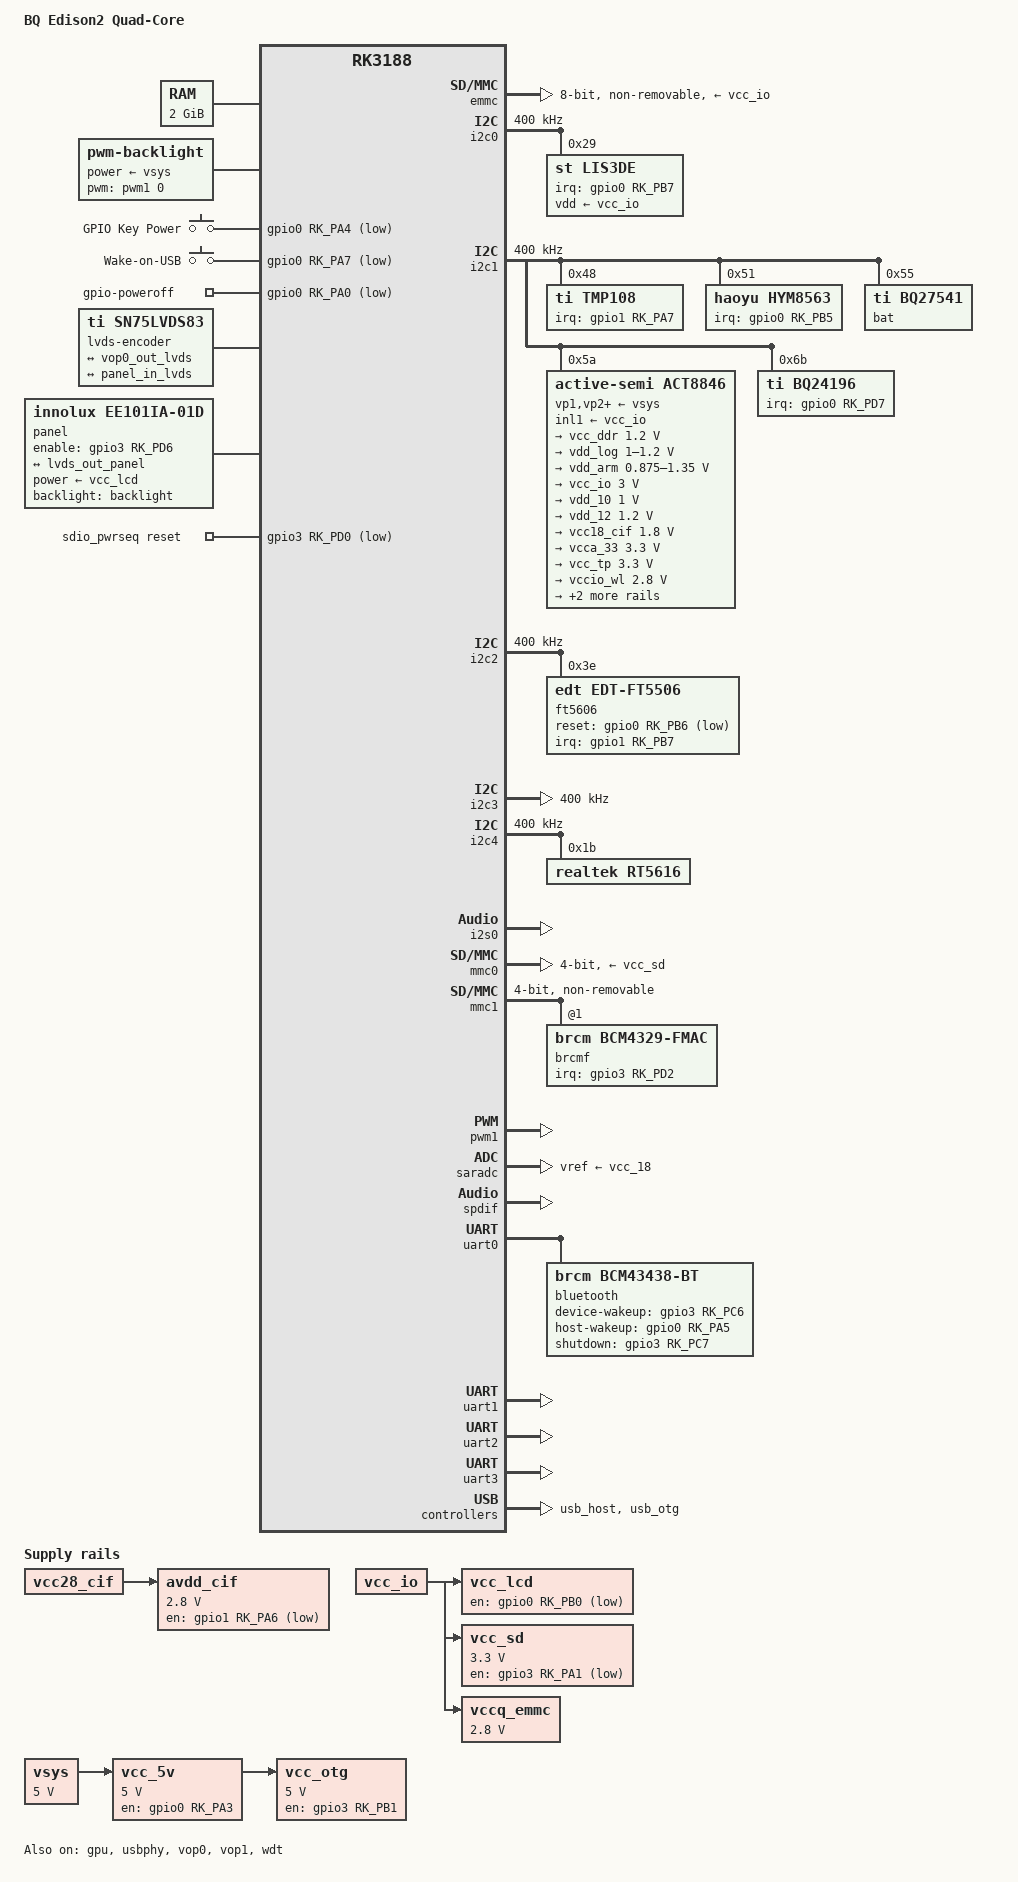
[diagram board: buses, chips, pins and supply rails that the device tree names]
// SPDX-License-Identifier: (GPL-2.0+ OR MIT)
/*
 * Copyright (c) 2018 MundoReader S.L.
 * Author:  Heiko Stuebner <heiko.stuebner@bq.com>
 */

/dts-v1/;
#include <dt-bindings/i2c/i2c.h>
#include <dt-bindings/input/input.h>
#include <dt-bindings/interrupt-controller/irq.h>
#include "rk3188.dtsi"

/ {
	model = "BQ Edison2 Quad-Core";
	compatible = "mundoreader,bq-edison2qc", "rockchip,rk3188";

	aliases {
		mmc0 = &mmc0;
		mmc1 = &mmc1;
		mmc2 = &emmc;
	};

	memory@60000000 {
		device_type = "memory";
		reg = <0x60000000 0x80000000>;
	};

	backlight: backlight {
		compatible = "pwm-backlight";
		power-supply = <&vsys>;
		pwms = <&pwm1 0 25000>;
	};

	gpio-keys {
		compatible = "gpio-keys";
		autorepeat;
		pinctrl-names = "default";
		pinctrl-0 = <&pwr_key &usb_int>;

		key-power {
			gpios = <&gpio0 RK_PA4 GPIO_ACTIVE_LOW>;
			linux,code = <KEY_POWER>;
			label = "GPIO Key Power";
			linux,input-type = <1>;
			debounce-interval = <100>;
			wakeup-source;
		};

		wake_on_usb: key-wake-on-usb {
			label = "Wake-on-USB";
			gpios = <&gpio0 RK_PA7 GPIO_ACTIVE_LOW>;
			linux,code = <KEY_WAKEUP>;
			wakeup-source;
		};
	};

	gpio-poweroff {
		compatible = "gpio-poweroff";
		gpios = <&gpio0 RK_PA0 GPIO_ACTIVE_LOW>;
		pinctrl-names = "default";
		pinctrl-0 = <&pwr_hold>;
		/* only drive the pin low until device is off */
		active-delay-ms = <3000>;
	};

	lvds-encoder {
		compatible = "ti,sn75lvds83", "lvds-encoder";

		ports {
			#address-cells = <1>;
			#size-cells = <0>;

			port@0 {
				reg = <0>;

				lvds_in_vop0: endpoint {
					remote-endpoint = <&vop0_out_lvds>;
				};
			};

			port@1 {
				reg = <1>;

				lvds_out_panel: endpoint {
					remote-endpoint = <&panel_in_lvds>;
				};
			};
		};
	};

	panel {
		compatible = "innolux,ee101ia-01d", "panel-lvds";
		backlight = <&backlight>;

		/* pin LCD_CS, Nshtdn input of lvds-encoder */
		enable-gpios = <&gpio3 RK_PD6 GPIO_ACTIVE_HIGH>;
		pinctrl-names = "default";
		pinctrl-0 = <&lcd_cs>;
		power-supply = <&vcc_lcd>;

		data-mapping = "vesa-24";
		height-mm = <163>;
		width-mm = <261>;

		panel-timing {
			clock-frequency = <72000000>;
			hactive = <1280>;
			vactive = <800>;
			hback-porch = <160>;
			hfront-porch = <16>;
			hsync-len = <10>;
			vback-porch = <23>;
			vfront-porch = <12>;
			vsync-len = <3>;
		};

		port {
			panel_in_lvds: endpoint {
				remote-endpoint = <&lvds_out_panel>;
			};
		};
	};

	sdio_pwrseq: sdio-pwrseq {
		compatible = "mmc-pwrseq-simple";
		clocks = <&hym8563>;
		clock-names = "ext_clock";
		pinctrl-names = "default";
		pinctrl-0 = <&wifi_reg_on>;
		reset-gpios = <&gpio3 RK_PD0 GPIO_ACTIVE_LOW>;
	};

	avdd_cif: cif-avdd-regulator {
		compatible = "regulator-fixed";
		regulator-name = "avdd-cif";
		regulator-min-microvolt = <2800000>;
		regulator-max-microvolt = <2800000>;
		gpio = <&gpio1 RK_PA6 GPIO_ACTIVE_LOW>;
		pinctrl-names = "default";
		pinctrl-0 = <&cif_avdd_en>;
		startup-delay-us = <100000>;
		vin-supply = <&vcc28_cif>;
	};

	vcc_5v: vcc-5v-regulator {
		compatible = "regulator-fixed";
		regulator-name = "vcc-5v";
		regulator-min-microvolt = <5000000>;
		regulator-max-microvolt = <5000000>;
		enable-active-high;
		gpio = <&gpio0 RK_PA3 GPIO_ACTIVE_HIGH>;
		pinctrl-names = "default";
		pinctrl-0 = <&v5_drv>;
		vin-supply = <&vsys>;
	};

	vcc_lcd: lcd-regulator {
		compatible = "regulator-fixed";
		regulator-name = "vcc-lcd";
		gpio = <&gpio0 RK_PB0 GPIO_ACTIVE_LOW>;
		pinctrl-names = "default";
		pinctrl-0 = <&lcd_en>;
		startup-delay-us = <50000>;
		vin-supply = <&vcc_io>;
	};

	vcc_otg: usb-otg-regulator {
		compatible = "regulator-fixed";
		regulator-name = "vcc-otg";
		regulator-min-microvolt = <5000000>;
		regulator-max-microvolt = <5000000>;
		enable-active-high;
		gpio = <&gpio3 RK_PB1 GPIO_ACTIVE_HIGH>;
		pinctrl-names = "default";
		pinctrl-0 = <&otg_drv>;
		startup-delay-us = <100000>;
		vin-supply = <&vcc_5v>;
	};

	vcc_sd: sdmmc-regulator {
		compatible = "regulator-fixed";
		regulator-name = "vcc-sd";
		regulator-min-microvolt = <3300000>;
		regulator-max-microvolt = <3300000>;
		gpio = <&gpio3 RK_PA1 GPIO_ACTIVE_LOW>;
		pinctrl-names = "default";
		pinctrl-0 = <&sdmmc_pwr>;
		startup-delay-us = <100000>;
		vin-supply = <&vcc_io>;
	};

	vccq_emmc: emmc-vccq-regulator {
		compatible = "regulator-fixed";
		regulator-name = "vccq-emmc";
		regulator-min-microvolt = <2800000>;
		regulator-max-microvolt = <2800000>;
		vin-supply = <&vcc_io>;
	};

	/* supplied from the bq24196 */
	vsys: vsys-regulator {
		compatible = "regulator-fixed";
		regulator-name = "vsys";
		regulator-min-microvolt = <5000000>;
		regulator-max-microvolt = <5000000>;
		regulator-boot-on;
	};
};

&cpu0 {
	cpu-supply = <&vdd_arm>;
};

&cpu1 {
	cpu-supply = <&vdd_arm>;
};

&cpu2 {
	cpu-supply = <&vdd_arm>;
};

&cpu3 {
	cpu-supply = <&vdd_arm>;
};

&cru {
	assigned-clocks = <&cru PLL_GPLL>, <&cru PLL_CPLL>,
			  <&cru ACLK_CPU>,
			  <&cru HCLK_CPU>, <&cru PCLK_CPU>,
			  <&cru ACLK_PERI>, <&cru HCLK_PERI>,
			  <&cru PCLK_PERI>;
	assigned-clock-rates = <594000000>, <504000000>,
			       <300000000>,
			       <150000000>, <75000000>,
			       <300000000>, <150000000>,
			       <75000000>;
};

&emmc {
	bus-width = <8>;
	cap-mmc-highspeed;
	non-removable;
	pinctrl-names = "default";
	pinctrl-0 = <&emmc_clk &emmc_cmd>;
	vmmc-supply = <&vcc_io>;
	vqmmc-supply = <&vccq_emmc>;
	status = "okay";
};

&gpu {
	status = "okay";
};

&i2c0 {
	clock-frequency = <400000>;
	status = "okay";

	lis3de: accelerometer@29 {
		compatible = "st,lis3de";
		reg = <0x29>;
		interrupt-parent = <&gpio0>;
		interrupts = <RK_PB7 IRQ_TYPE_EDGE_RISING>;
		pinctrl-names = "default";
		pinctrl-0 = <&gsensor_int>;
		rotation-matrix = "1", "0", "0",
				  "0", "-1", "0",
				  "0", "0", "1";
		vdd-supply = <&vcc_io>;
	};
};

&i2c1 {
	clock-frequency = <400000>;
	status = "okay";

	tmp108@48 {
		compatible = "ti,tmp108";
		reg = <0x48>;
		interrupt-parent = <&gpio1>;
		interrupts = <RK_PA7 IRQ_TYPE_LEVEL_LOW>;
		pinctrl-names = "default";
		pinctrl-0 = <&tmp_alrt>;
		#thermal-sensor-cells = <0>;
	};

	hym8563: rtc@51 {
		compatible = "haoyu,hym8563";
		reg = <0x51>;
		interrupt-parent = <&gpio0>;
		interrupts = <RK_PB5 IRQ_TYPE_EDGE_FALLING>;
		pinctrl-names = "default";
		pinctrl-0 = <&rtc_int>;
		#clock-cells = <0>;
		clock-output-names = "xin32k";
	};

	bat: battery@55 {
		compatible = "ti,bq27541";
		reg = <0x55>;
		power-supplies = <&bq24196>;
	};

	act8846: pmic@5a {
		compatible = "active-semi,act8846";
		reg = <0x5a>;
		pinctrl-names = "default";
		pinctrl-0 = <&dvs0_ctl &pmic_int>;

		vp1-supply = <&vsys>;
		vp2-supply = <&vsys>;
		vp3-supply = <&vsys>;
		vp4-supply = <&vsys>;
		inl1-supply = <&vcc_io>;
		inl2-supply = <&vsys>;
		inl3-supply = <&vsys>;

		regulators {
			vcc_ddr: REG1 {
				regulator-name = "VCC_DDR";
				regulator-min-microvolt = <1200000>;
				regulator-max-microvolt = <1200000>;
				regulator-always-on;
			};

			vdd_log: REG2 {
				regulator-name = "VDD_LOG";
				regulator-min-microvolt = <1000000>;
				regulator-max-microvolt = <1200000>;
				regulator-always-on;
			};

			vdd_arm: REG3 {
				regulator-name = "VDD_ARM";
				regulator-min-microvolt = <875000>;
				regulator-max-microvolt = <1350000>;
				regulator-always-on;
			};

			vcc_io: vcc_hdmi: REG4 {
				regulator-name = "VCC_IO";
				regulator-min-microvolt = <3000000>;
				regulator-max-microvolt = <3000000>;
				regulator-always-on;
			};

			vdd_10: REG5 {
				regulator-name = "VDD_10";
				regulator-min-microvolt = <1000000>;
				regulator-max-microvolt = <1000000>;
				regulator-always-on;
			};

			vdd_12: REG6 {
				regulator-name = "VDD_12";
				regulator-min-microvolt = <1200000>;
				regulator-max-microvolt = <1200000>;
				regulator-always-on;
			};

			vcc18_cif: REG7 {
				regulator-name = "VCC18_CIF";
				regulator-min-microvolt = <1800000>;
				regulator-max-microvolt = <1800000>;
				regulator-always-on;
			};

			vcca_33: REG8 {
				regulator-name = "VCCA_33";
				regulator-min-microvolt = <3300000>;
				regulator-max-microvolt = <3300000>;
				regulator-always-on;
			};

			vcc_tp: REG9 {
				regulator-name = "VCC_TP";
				regulator-min-microvolt = <3300000>;
				regulator-max-microvolt = <3300000>;
				regulator-always-on;
			};

			vccio_wl: REG10 {
				regulator-name = "VCCIO_WL";
				regulator-min-microvolt = <2800000>;
				regulator-max-microvolt = <2800000>;
				regulator-always-on;
			};

			vcc_18: REG11 {
				regulator-name = "VCC_18";
				regulator-min-microvolt = <1800000>;
				regulator-max-microvolt = <1800000>;
				regulator-always-on;
			};

			vcc28_cif: REG12 {
				regulator-name = "VCC28_CIF";
				regulator-min-microvolt = <2800000>;
				regulator-max-microvolt = <2800000>;
				regulator-always-on;
			};
		};
	};

	bq24196: charger@6b {
		compatible = "ti,bq24196";
		reg = <0x6b>;
		interrupt-parent = <&gpio0>;
		interrupts = <RK_PD7 IRQ_TYPE_EDGE_FALLING>;
		pinctrl-names = "default";
		pinctrl-0 = <&charger_int &chg_ctl &otg_en>;
		ti,system-minimum-microvolt = <3200000>;
		monitored-battery = <&bat>;
		omit-battery-class;

		usb_otg_vbus: usb-otg-vbus { };
	};
};

&i2c2 {
	clock-frequency = <400000>;
	status = "okay";

	ft5606: touchscreen@3e {
		compatible = "edt,edt-ft5506";
		reg = <0x3e>;
		interrupt-parent = <&gpio1>;
		interrupts = <RK_PB7 IRQ_TYPE_EDGE_FALLING>;
		pinctrl-names = "default";
		pinctrl-0 = <&tp_int &tp_rst>;
		reset-gpios = <&gpio0 RK_PB6 GPIO_ACTIVE_LOW>;
		touchscreen-inverted-y;
		/* hw ts resolution does not match display */
		touchscreen-size-y = <1024>;
		touchscreen-size-x = <768>;
		touchscreen-swapped-x-y;
	};
};

&i2c3 {
	clock-frequency = <400000>;
	status = "okay";
};

&i2c4 {
	clock-frequency = <400000>;
	status = "okay";

	rt5616: codec@1b {
		compatible = "realtek,rt5616";
		reg = <0x1b>;
		clocks = <&cru SCLK_I2S0>;
		clock-names = "mclk";
		#sound-dai-cells = <0>;
	};
};

&i2s0 {
	status = "okay";
};

&mmc0 {
	bus-width = <4>;
	cap-mmc-highspeed;
	cap-sd-highspeed;
	disable-wp;
	pinctrl-names = "default";
	pinctrl-0 = <&sd0_clk>, <&sd0_cmd>, <&sd0_cd>, <&sd0_bus4>;
	vmmc-supply = <&vcc_sd>;
	status = "okay";
};

&mmc1 {
	bus-width = <4>;
	cap-sd-highspeed;
	keep-power-in-suspend;
	mmc-pwrseq = <&sdio_pwrseq>;
	non-removable;
	pinctrl-names = "default";
	pinctrl-0 = <&sd1_clk>, <&sd1_cmd>, <&sd1_bus4>;
	vqmmc-supply = <&vccio_wl>;
	#address-cells = <1>;
	#size-cells = <0>;
	status = "okay";

	brcmf: wifi@1 {
		reg = <1>;
		compatible = "brcm,bcm4329-fmac";
		interrupt-parent = <&gpio3>;
		interrupts = <RK_PD2 IRQ_TYPE_NONE>;
		interrupt-names = "host-wake";
		brcm,drive-strength = <5>;
		pinctrl-names = "default";
		pinctrl-0 = <&wifi_host_wake>;
	};
};

&pwm1 {
	status = "okay";
};

&pinctrl {
	pcfg_output_high: pcfg-output-high {
		output-high;
	};

	pcfg_output_low: pcfg-output-low {
		output-low;
	};

	act8846 {
		dvs0_ctl: dvs0-ctl {
			rockchip,pins = <3 RK_PD3 RK_FUNC_GPIO &pcfg_output_low>;
		};

		pmic_int: pmic-int {
			rockchip,pins = <0 RK_PB3 RK_FUNC_GPIO &pcfg_pull_up>;
		};
	};

	bq24196 {
		charger_int: charger-int {
			rockchip,pins = <0 RK_PD7 RK_FUNC_GPIO &pcfg_pull_up>;
		};

		/* pin hog to make it select usb profile */
		chg_ctl: chg-ctl {
			rockchip,pins = <0 RK_PA1 RK_FUNC_GPIO &pcfg_output_high>;
		};

		/* low: charging, high: complete, fault: blinking */
		chg_det: chg-det {
			rockchip,pins = <0 RK_PA6 RK_FUNC_GPIO &pcfg_pull_none>;
		};

		/* charging enabled when pin low and register set */
		chg_en: chg-en {
			rockchip,pins = <0 RK_PC1 RK_FUNC_GPIO &pcfg_output_low>;
		};

		/* bq29196 powergood (when low) signal */
		dc_det: dc-det {
			rockchip,pins = <0 RK_PB2 RK_FUNC_GPIO &pcfg_pull_none>;
		};

		/* wire bq24196 otg pin to high, to enable 500mA charging */
		otg_en: otg-en {
			rockchip,pins = <0 RK_PB1 RK_FUNC_GPIO &pcfg_output_high>;
		};
	};

	camera {
		cif0_pdn: cif0-pdn {
			rockchip,pins = <3 RK_PB4 RK_FUNC_GPIO &pcfg_pull_none>;
		};

		cif1_pdn: cif1-pdn {
			rockchip,pins = <3 RK_PB5 RK_FUNC_GPIO &pcfg_pull_none>;
		};

		cif_avdd_en: cif-avdd-en {
			rockchip,pins = <1 RK_PA6 RK_FUNC_GPIO &pcfg_pull_none>;
		};
	};

	display {
		lcd_cs: lcd-cs {
			rockchip,pins = <3 RK_PD6 RK_FUNC_GPIO &pcfg_pull_none>;
		};

		lcd_en: lcd-en {
			rockchip,pins = <0 RK_PB0 RK_FUNC_GPIO &pcfg_pull_none>;
		};
	};

	ft5606 {
		tp_int: tp-int {
			rockchip,pins = <1 RK_PB7 RK_FUNC_GPIO &pcfg_pull_up>;
		};

		tp_rst: tp-rst {
			rockchip,pins = <0 RK_PB6 RK_FUNC_GPIO &pcfg_pull_none>;
		};
	};

	hdmi {
		hdmi_int: hdmi-int {
			rockchip,pins = <2 RK_PD6 RK_FUNC_GPIO &pcfg_pull_up>;
		};

		hdmi_rst: hdmi-rst {
			rockchip,pins = <3 RK_PB2 RK_FUNC_GPIO &pcfg_pull_none>;
		};
	};

	hym8563 {
		rtc_int: rtc-int {
			rockchip,pins = <0 RK_PB5 RK_FUNC_GPIO &pcfg_pull_up>;
		};
	};

	keys {
		pwr_hold: pwr-hold {
			rockchip,pins = <0 RK_PA0 RK_FUNC_GPIO &pcfg_pull_up>;
		};

		pwr_key: pwr-key {
			rockchip,pins = <0 RK_PA4 RK_FUNC_GPIO &pcfg_pull_up>;
		};
	};

	lis3de {
		gsensor_int: gsensor-int {
			rockchip,pins = <0 RK_PB7 RK_FUNC_GPIO &pcfg_pull_none>;
		};
	};

	mmc {
		sdmmc_pwr: sdmmc-pwr {
			rockchip,pins = <3 RK_PA1 RK_FUNC_GPIO &pcfg_pull_none>;
		};
	};

	tmp108 {
		tmp_alrt: tmp-alrt {
			rockchip,pins = <1 RK_PA7 RK_FUNC_GPIO &pcfg_pull_none>;
		};
	};

	usb {
		v5_drv: v5-drv {
			rockchip,pins = <0 RK_PA3 RK_FUNC_GPIO &pcfg_pull_none>;
		};

		otg_drv: otg-drv {
			rockchip,pins = <3 RK_PB1 RK_FUNC_GPIO &pcfg_pull_none>;
		};

		usb_int: usb-int {
			rockchip,pins = <0 RK_PA7 RK_FUNC_GPIO &pcfg_pull_up>;
		};
	};

	rk903 {
		bt_host_wake: bt-host-wake {
			rockchip,pins = <0 RK_PA5 RK_FUNC_GPIO &pcfg_pull_up>;
		};

		bt_reg_on: bt-reg-on {
			rockchip,pins = <3 RK_PC7 RK_FUNC_GPIO &pcfg_pull_none>;
		};

		/* pin hog to pull the reset high */
		bt_rst: bt-rst {
			rockchip,pins = <3 RK_PD1 RK_FUNC_GPIO &pcfg_output_high>;
		};

		bt_wake: bt-wake {
			rockchip,pins = <3 RK_PC6 RK_FUNC_GPIO &pcfg_pull_none>;
		};

		wifi_host_wake: wifi-host-wake {
			rockchip,pins = <3 RK_PD2 RK_FUNC_GPIO &pcfg_pull_up>;
		};

		wifi_reg_on: wifi-reg-on {
			rockchip,pins = <3 RK_PD0 RK_FUNC_GPIO &pcfg_pull_none>;
		};
	};
};

&saradc {
	vref-supply = <&vcc_18>;
	status = "okay";
};

&spdif {
	status = "okay";
};

&uart0 {
	pinctrl-0 = <&uart0_xfer &uart0_cts &uart0_rts>;
	status = "okay";

	bluetooth {
		compatible = "brcm,bcm43438-bt";
		max-speed = <2000000>;
		device-wakeup-gpios = <&gpio3 RK_PC6 GPIO_ACTIVE_HIGH>;
		host-wakeup-gpios = <&gpio0 RK_PA5 GPIO_ACTIVE_HIGH>;
		shutdown-gpios = <&gpio3 RK_PC7 GPIO_ACTIVE_HIGH>;
		pinctrl-names = "default";
		pinctrl-0 = <&bt_host_wake &bt_reg_on &bt_rst &bt_wake>;
	};
};

&uart1 {
	status = "okay";
};

&uart2 {
	status = "okay";
};

&uart3 {
	pinctrl-0 = <&uart3_xfer &uart3_cts &uart3_rts>;
	status = "okay";
};

&usbphy {
	status = "okay";
};

&usb_host {
	status = "okay";
};

&usb_otg {
	status = "okay";
};

&vop0 {
	status = "okay";
};

&vop0_out {
	vop0_out_lvds: endpoint {
		remote-endpoint = <&lvds_in_vop0>;
	};
};

&vop1 {
	pinctrl-names = "default";
	pinctrl-0 = <&lcdc1_dclk &lcdc1_den &lcdc1_hsync
		     &lcdc1_vsync &lcdc1_rgb24>;
	status = "okay";
};

&wdt {
	status = "okay";
};
